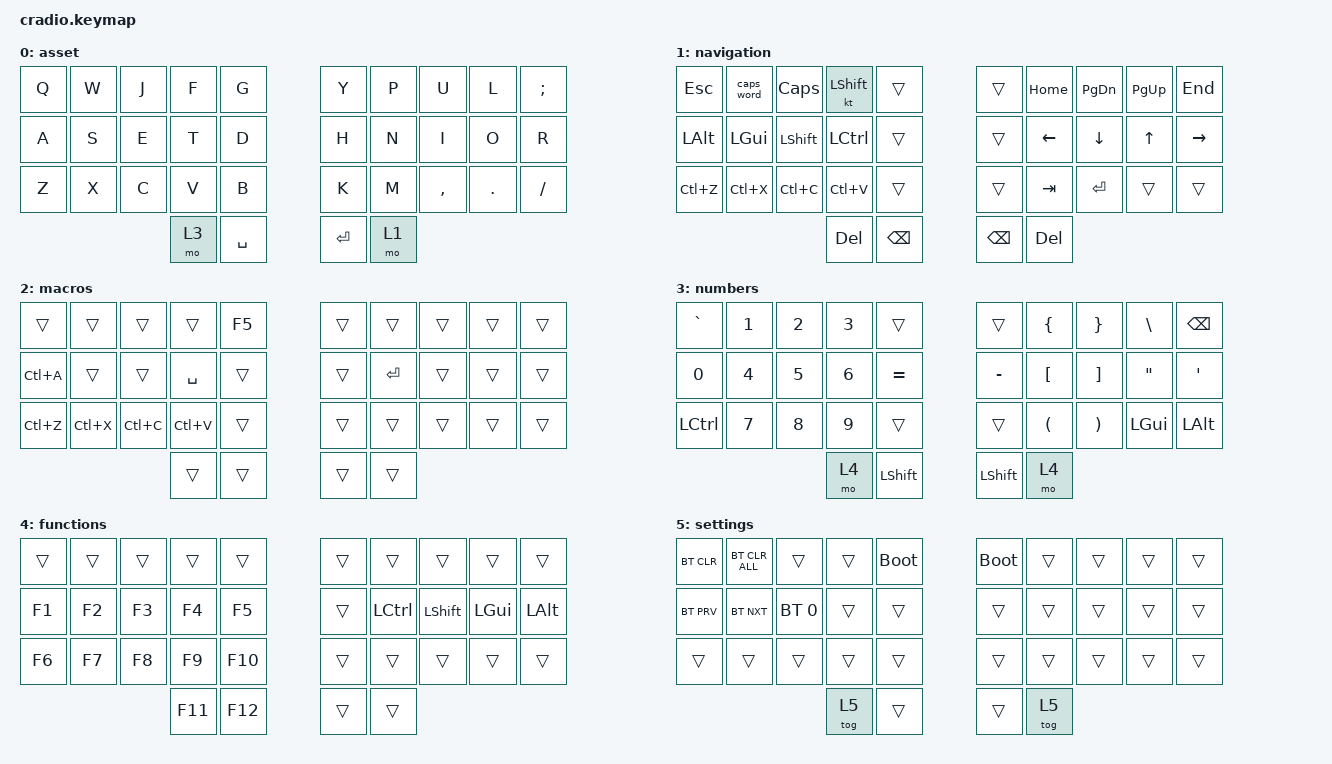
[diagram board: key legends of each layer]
#include <behaviors.dtsi>
#include <dt-bindings/zmk/bt.h>
#include <dt-bindings/zmk/keys.h>

/ {
    combos {
        compatible = "zmk,combos";

        settings-layer-left {
            bindings = <&to 5>;
            key-positions = <0 3>;
            timeout-ms = <500>;
            require-prior-idle-ms = <1>;
            layers = <0>;
        };

        settings-layer-right {
            bindings = <&to 5>;
            key-positions = <6 9>;
            timeout-ms = <500>;
            require-prior-idle-ms = <1>;
            layers = <0>;
        };

        lgui {
            bindings = <&kp LGUI>;
            key-positions = <31 11>;
            timeout-ms = <125>;
            require-prior-idle-ms = <1000>;
            layers = <0>;
        };

        rgui {
            bindings = <&kp LGUI>;
            key-positions = <33 17>;
            timeout-ms = <50>;
            require-prior-idle-ms = <25>;
            layers = <0>;
        };

        lalt {
            bindings = <&kp LALT>;
            key-positions = <10 31>;
            timeout-ms = <125>;
            require-prior-idle-ms = <1000>;
            layers = <0>;
        };

        ralt {
            bindings = <&kp LALT>;
            key-positions = <16 33>;
            timeout-ms = <50>;
            require-prior-idle-ms = <25>;
            layers = <0>;
        };

        lshift {
            bindings = <&kp LSHIFT>;
            key-positions = <31 12>;
            timeout-ms = <50>;
            require-prior-idle-ms = <25>;
            layers = <0>;
        };

        rshift {
            bindings = <&kp LSHIFT>;
            key-positions = <32 17>;
            timeout-ms = <100>;
            require-prior-idle-ms = <25>;
            layers = <0>;
        };

        lctrl {
            bindings = <&kp LCTRL>;
            key-positions = <13 31>;
            timeout-ms = <50>;
            require-prior-idle-ms = <25>;
            layers = <0>;
        };

        rctrl {
            bindings = <&kp LCTRL>;
            key-positions = <16 32>;
            timeout-ms = <100>;
            require-prior-idle-ms = <25>;
            layers = <0>;
        };

        ctrl-shift {
            bindings = <&kp LC(LSHIFT)>;
            key-positions = <16 17 32>;
            timeout-ms = <100>;
            require-prior-idle-ms = <25>;
            layers = <0>;
        };

        l_ctrl_shift {
            bindings = <&kp LC(LSHIFT)>;
            key-positions = <12 13 31>;
            timeout-ms = <100>;
            require-prior-idle-ms = <25>;
            layers = <0>;
        };

        macros {
            bindings = <&tog 2>;
            key-positions = <30 33>;
        };

        enter {
            bindings = <&kp ENTER>;
            key-positions = <31 32>;
        };

        r-ctrl-alt {
            bindings = <&kp LC(LEFT_ALT)>;
            key-positions = <16 17 33>;
            timeout-ms = <100>;
            require-prior-idle-ms = <25>;
            layers = <0>;
        };

        l-ctrl-alt {
            bindings = <&kp LC(LEFT_ALT)>;
            key-positions = <12 13 30>;
            timeout-ms = <100>;
            require-prior-idle-ms = <25>;
            layers = <0>;
        };

        rgui-wide {
            bindings = <&kp LGUI>;
            key-positions = <18 32>;
            timeout-ms = <125>;
            require-prior-idle-ms = <1000>;
            layers = <0>;
        };

        ralt-wide {
            bindings = <&kp LALT>;
            key-positions = <19 32>;
            timeout-ms = <125>;
            require-prior-idle-ms = <1000>;
            layers = <0>;
        };
    };

    behaviors {
        hold_tap_mod: hold_tap_mod {
            compatible = "zmk,behavior-hold-tap";
            label = "HOLD_TAP_MOD";
            bindings = <&kp>, <&sk>;

            #binding-cells = <2>;
            tapping-term-ms = <400>;
            flavor = "balanced";
        };

        mouse_press: mouse_press {
            compatible = "zmk,behavior-mouse-key-press";
            label = "MOUSE_PRESS";
            #binding-cells = <1>;
        };
    };

    keymap {
        compatible = "zmk,keymap";

        asset {
            bindings = <
&kp Q  &kp W  &kp J  &kp F  &kp G        &kp Y      &kp P  &kp U      &kp L    &kp SEMI
&kp A  &kp S  &kp E  &kp T  &kp D        &kp H      &kp N  &kp I      &kp O    &kp R
&kp Z  &kp X  &kp C  &kp V  &kp B        &kp K      &kp M  &kp COMMA  &kp DOT  &kp FSLH
                     &mo 3  &kp SPACE    &kp ENTER  &mo 1
            >;
        };

        navigation {
            bindings = <
&kp ESC    &caps_word  &kp CAPS   &kt LSHIFT  &trans      &trans         &kp HOME    &kp PG_DN  &kp PG_UP  &kp END
&kp LALT   &kp LGUI    &kp LSHFT  &kp LCTRL   &trans      &trans         &kp LEFT    &kp DOWN   &kp UP     &kp RIGHT
&kp LC(Z)  &kp LC(X)   &kp LC(C)  &kp LC(V)   &trans      &trans         &kp TAB     &kp RET    &trans     &trans
                                  &kp DEL     &kp BSPC    &kp BACKSPACE  &kp DELETE
            >;
        };

        macros {
            bindings = <
&trans     &trans     &trans     &trans     &kp F5    &trans  &trans     &trans  &trans  &trans
&kp LC(A)  &trans     &trans     &kp SPACE  &trans    &trans  &kp ENTER  &trans  &trans  &trans
&kp LC(Z)  &kp LC(X)  &kp LC(C)  &kp LC(V)  &trans    &trans  &trans     &trans  &trans  &trans
                                 &trans     &trans    &trans  &trans
            >;
        };

        numbers {
            bindings = <
&kp GRAVE     &kp N1  &kp N2  &kp N3  &trans       &trans     &kp LEFT_BRACE        &kp RIGHT_BRACE        &kp BACKSLASH      &kp BACKSPACE
&kp NUMBER_0  &kp N4  &kp N5  &kp N6  &kp EQUAL    &kp MINUS  &kp LBKT              &kp RBKT               &kp DOUBLE_QUOTES  &kp SINGLE_QUOTE
&kp LCTRL     &kp N7  &kp N8  &kp N9  &trans       &trans     &kp LEFT_PARENTHESIS  &kp RIGHT_PARENTHESIS  &kp LGUI           &kp LALT
                              &mo 4   &kp LSHFT    &kp LSHFT  &mo 4
            >;
        };

        functions {
            bindings = <
&trans  &trans  &trans  &trans   &trans     &trans  &trans     &trans     &trans    &trans
&kp F1  &kp F2  &kp F3  &kp F4   &kp F5     &trans  &kp LCTRL  &kp LSHFT  &kp LGUI  &kp LALT
&kp F6  &kp F7  &kp F8  &kp F9   &kp F10    &trans  &trans     &trans     &trans    &trans
                        &kp F11  &kp F12    &trans  &trans
            >;
        };

        settings {
            bindings = <
&bt BT_CLR  &bt BT_CLR_ALL  &trans        &trans  &bootloader    &bootloader  &trans  &trans  &trans  &trans
&bt BT_PRV  &bt BT_NXT      &bt BT_SEL 0  &trans  &trans         &trans       &trans  &trans  &trans  &trans
&trans      &trans          &trans        &trans  &trans         &trans       &trans  &trans  &trans  &trans
                                          &tog 5  &trans         &trans       &tog 5
            >;
        };
    };
};
